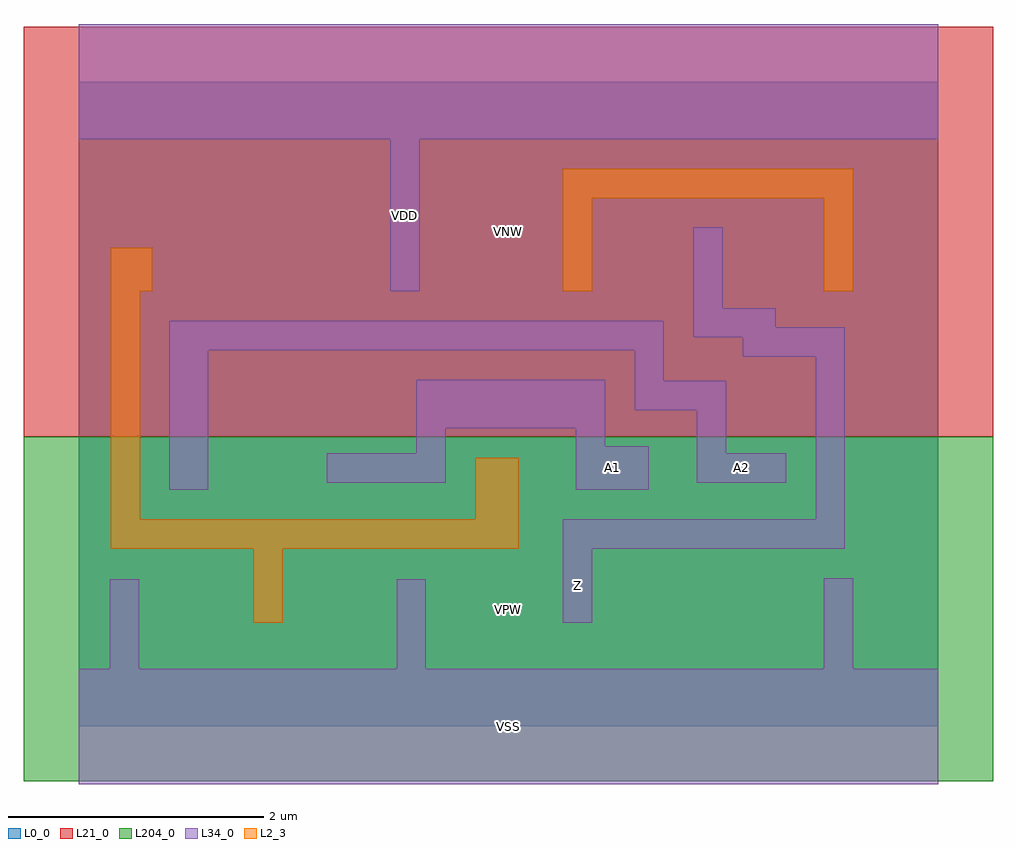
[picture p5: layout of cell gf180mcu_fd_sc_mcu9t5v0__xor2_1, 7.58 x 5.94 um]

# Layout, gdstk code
import gdstk
lib = gdstk.Library(unit=1e-6, precision=1e-09)
def R(c, l, rs):  # rectangles x0, y0, x1, y1
    for r in rs: c.add(gdstk.rectangle(r[:2], r[2:], *l))
L0_0 = (0, 0)
L2_3 = (2, 3)
L21_0 = (21, 0)
L34_0 = (34, 0)
L204_0 = (204, 0)

gf180mcu_fd_sc_mcu9t5v0_ = lib.new_cell('gf180mcu_fd_sc_mcu9t5v0__xor2_1')
R(gf180mcu_fd_sc_mcu9t5v0_, L0_0, [(0,0,6.72,5.04)])
R(gf180mcu_fd_sc_mcu9t5v0_, L2_3, [(1.365,0.81,1.595,1.39), (0.25,1.39,3.44,1.62), (0.25,1.62,0.48,3.4), (3.1,1.62,3.44,2.1), (0.25,3.4,0.575,3.74), (3.785,3.4,4.015,4.13), (5.825,3.4,6.055,4.13), (3.785,4.13,6.055,4.36)])
R(gf180mcu_fd_sc_mcu9t5v0_, L21_0, [(-0.43,2.265,7.15,5.47)])
R(gf180mcu_fd_sc_mcu9t5v0_, L34_0, [(0,-0.45,6.72,0.45), (0.245,0.45,0.475,1.15), (2.485,0.45,2.715,1.15), (5.825,0.45,6.055,1.16), (3.785,0.81,4.015,1.39), (3.785,1.39,5.99,1.62), (5.76,1.62,5.99,2.89), (0.71,1.85,1.015,2.94), (3.885,1.85,4.455,2.19), (1.94,1.905,2.87,2.135), (4.83,1.905,5.53,2.135), (2.64,2.135,2.87,2.33), (4.83,2.135,5.06,2.47), (3.885,2.19,4.115,2.33), (2.64,2.33,4.115,2.71), (4.345,2.47,5.06,2.7), (4.345,2.7,4.575,2.94), (5.19,2.89,5.99,3.04), (0.71,2.94,4.575,3.17), (4.805,3.04,5.99,3.12), (4.805,3.12,5.45,3.27), (4.805,3.27,5.035,3.9), (2.435,3.4,2.665,4.59), (0,4.59,6.72,5.49)])
R(gf180mcu_fd_sc_mcu9t5v0_, L204_0, [(-0.43,-0.43,7.15,2.265)])
gf180mcu_fd_sc_mcu9t5v0_.add(gdstk.Label('A1', (4.17,2.02), layer=34, texttype=10))
gf180mcu_fd_sc_mcu9t5v0_.add(gdstk.Label('A2', (5.18,2.02), layer=34, texttype=10))
gf180mcu_fd_sc_mcu9t5v0_.add(gdstk.Label('Z', (3.9,1.1), layer=34, texttype=10))
gf180mcu_fd_sc_mcu9t5v0_.add(gdstk.Label('VDD', (2.55,3.995), layer=34, texttype=10))
gf180mcu_fd_sc_mcu9t5v0_.add(gdstk.Label('VSS', (3.36,0), layer=34, texttype=10))
gf180mcu_fd_sc_mcu9t5v0_.add(gdstk.Label('VNW', (3.36,3.867), layer=3, texttype=1))
gf180mcu_fd_sc_mcu9t5v0_.add(gdstk.Label('VPW', (3.36,0.917), layer=4, texttype=1))

lib.write_gds('gf180mcu_fd_sc_mcu9t5v0__xor2_1.gds')
